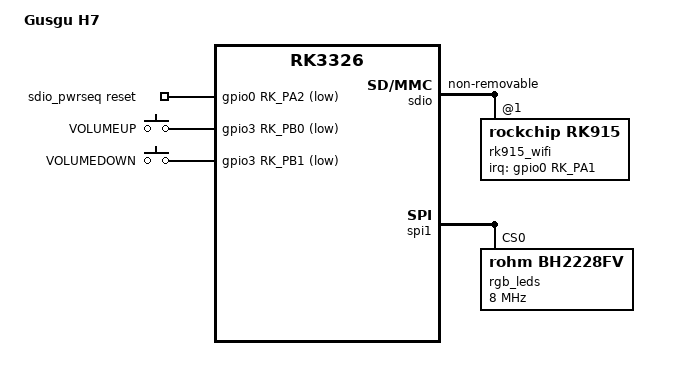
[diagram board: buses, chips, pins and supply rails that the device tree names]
// SPDX-License-Identifier: (GPL-2.0+ OR MIT)
/*
 * Gusgu H7 - unbranded Rockchip RK3326 handheld.
 *
 * Derived from the eeclone base, which is the only RK3326 tree here defining
 * every node this device needs to override, and whose serial2 = &uart5 alias
 * puts the H7's UART5 debug port on ttyS2 so the stock console= works.
 *
 * Everything below was taken from the device's own stock vendor DTB
 * (rk3326-evb-lp3-v12-linux.dtb): the panel via generic-dsi's stock-DTB
 * importer, the GPIO pin assignments verified against physical button presses.
 */

/dts-v1/;
#include "rk3326-gameconsole-eeclone.dts"
#include <dt-bindings/interrupt-controller/irq.h>

/ {
	model = "Gusgu H7";
	compatible = "gusgu,h7", "rockchip,rk3326";

	/* RK915 power-up sequence. gpio0 RK_PA2 is WIFI,poweren_gpio in the stock
	 * device tree; the chip stays dark without it being driven. */
	sdio_pwrseq: sdio-pwrseq {
		compatible = "mmc-pwrseq-simple";
		pinctrl-names = "default";
		pinctrl-0 = <&wifi_enable_h>;
		post-power-on-delay-ms = <100>;
		reset-gpios = <&gpio0 RK_PA2 GPIO_ACTIVE_LOW>;
	};

	/* Real GPIO volume buttons. Kept off the joypad so the OS treats them as
	 * system keys - and so the initramfs recovery check still finds
	 * KEY_VOLUMEDOWN on a real button rather than a floating ADC line. */
	volume-keys {
		compatible = "gpio-keys";
		autorepeat;

		vol-up {
			gpios = <&gpio3 RK_PB0 GPIO_ACTIVE_LOW>;
			label = "VOLUMEUP";
			linux,code = <KEY_VOLUMEUP>;
		};

		vol-down {
			gpios = <&gpio3 RK_PB1 GPIO_ACTIVE_LOW>;
			label = "VOLUMEDOWN";
			linux,code = <KEY_VOLUMEDOWN>;
		};
	};
};

/* 1024x768 Sitronix ST7703 (eeclone ships a 720x720 HX8394). */
&internal_display {
	panel_description =
		"G size=153,85 delays=20,20,20,120,20 format=rgb888 lanes=4 flags=0xe03",

		"M clock=62000 horizontal=1024,90,80,80 vertical=768,16,8,8 default=1",
		"M clock=62050 horizontal=1024,90,115,80 vertical=768,16,157,8",
		"M clock=62010 horizontal=1024,90,131,80 vertical=768,16,144,8",
		"M clock=63620 horizontal=1024,90,123,80 vertical=768,16,174,8",
		"M clock=62560 horizontal=1024,90,86,80 vertical=768,16,58,8",
		"M clock=68280 horizontal=1024,90,114,80 vertical=768,16,82,8",
		"M clock=63000 horizontal=1024,90,80,80 vertical=768,16,33,8",
		"M clock=62160 horizontal=1024,90,101,80 vertical=768,16,8,8",
		"M clock=75890 horizontal=1024,90,120,80 vertical=768,16,169,8",
		"M clock=90540 horizontal=1024,90,120,80 vertical=768,16,121,8",
		"M clock=91800 horizontal=1024,90,81,80 vertical=768,16,8,8",
		"M clock=122400 horizontal=1024,90,81,80 vertical=768,16,8,8",

		"I seq=ee01",
		"I seq=ea07",
		"I seq=eb12",
		"I seq=0a5e",
		"I seq=1314",
		"I seq=1735",
		"I seq=1d33",
		"I seq=2101",
		"I seq=2828",
		"I seq=2918",
		"I seq=2a63",
		"I seq=2ff3",
		"I seq=ee02",
		"I seq=39a9",
		"I seq=0000",
		"I seq=010d",
		"I seq=0212",
		"I seq=0308",
		"I seq=040e",
		"I seq=0530",
		"I seq=060b",
		"I seq=070e",
		"I seq=080f",
		"I seq=090e",
		"I seq=0a11",
		"I seq=0b4e",
		"I seq=0c14",
		"I seq=0d1a",
		"I seq=0e2f",
		"I seq=0f36",
		"I seq=103f",
		"I seq=2000",
		"I seq=210d",
		"I seq=2212",
		"I seq=2308",
		"I seq=240e",
		"I seq=2530",
		"I seq=260b",
		"I seq=270e",
		"I seq=280f",
		"I seq=290e",
		"I seq=2a11",
		"I seq=2b4e",
		"I seq=2c14",
		"I seq=2d1a",
		"I seq=2e2f",
		"I seq=2f36",
		"I seq=303f",
		"I seq=ee04",
		"I seq=0005",
		"I seq=0101",
		"I seq=0280",
		"I seq=0304",
		"I seq=0400",
		"I seq=0606",
		"I seq=0705",
		"I seq=081a",
		"I seq=0920",
		"I seq=0a0e",
		"I seq=0b00",
		"I seq=2040",
		"I seq=2408",
		"I seq=ee05",
		"I seq=0001",
		"I seq=0109",
		"I seq=0205",
		"I seq=0305",
		"I seq=0705",
		"I seq=080d",
		"I seq=0900",
		"I seq=0a12",
		"I seq=0b14",
		"I seq=0c66",
		"I seq=1003",
		"I seq=1107",
		"I seq=1205",
		"I seq=1305",
		"I seq=1912",
		"I seq=1af6",
		"I seq=4055",
		"I seq=4100",
		"I seq=4303",
		"I seq=4401",
		"I seq=4581",
		"I seq=4606",
		"I seq=4700",
		"I seq=ee06",
		"I seq=0045",
		"I seq=0201",
		"I seq=0488",
		"I seq=06cd",
		"I seq=08ef",
		"I seq=09cd",
		"I seq=0aab",
		"I seq=0b89",
		"I seq=0c67",
		"I seq=0d45",
		"I seq=0e23",
		"I seq=0f01",
		"I seq=ee07",
		"I seq=003c",
		"I seq=013c",
		"I seq=023c",
		"I seq=033c",
		"I seq=040d",
		"I seq=053c",
		"I seq=063c",
		"I seq=073c",
		"I seq=0808",
		"I seq=0910",
		"I seq=0a12",
		"I seq=0b14",
		"I seq=0c16",
		"I seq=0d18",
		"I seq=0e1a",
		"I seq=0f1c",
		"I seq=101e",
		"I seq=1104",
		"I seq=1200",
		"I seq=133c",
		"I seq=140c",
		"I seq=153c",
		"I seq=203c",
		"I seq=213c",
		"I seq=223c",
		"I seq=233c",
		"I seq=240d",
		"I seq=253c",
		"I seq=263c",
		"I seq=273c",
		"I seq=2808",
		"I seq=2911",
		"I seq=2a13",
		"I seq=2b15",
		"I seq=2c17",
		"I seq=2d19",
		"I seq=2e1b",
		"I seq=2f1d",
		"I seq=301f",
		"I seq=3105",
		"I seq=3201",
		"I seq=333c",
		"I seq=340c",
		"I seq=353c",
		"I seq=ee08",
		"I seq=1000",
		"I seq=12dc",
		"I seq=131c",
		"I seq=1723",
		"I seq=1820",
		"I seq=2080",
		"I seq=ee0f",
		"I seq=0001",
		"I seq=0100",
		"I seq=ee00",
		"I seq=ea00",
		"I seq=eb00",
		"I seq=3600",
		"I seq=11 wait=200",
		"I seq=29 wait=20";
};

/* eeclone samples SARADC ch2 for volume; on the H7 that line is the right
 * stick X axis. A centred stick reads as KEY_VOLUMEDOWN held, which sends
 * ROCKNIX init into USB-MSC recovery on every boot. */
&adc_keys {
	status = "disabled";
};

/* No analog mux on this hardware - both sticks wire straight to SARADC 0-3.
 * amux-count = 0 until a driver that reads four direct channels exists. */
/* The H7 has ONE stick on SARADC ch1 (X) and ch2 (Y), wired direct - no analog
 * mux. rocknix-singleadc-joypad can only read a single muxed channel
 * (devm_iio_channel_get "amux_adc"), so switch to rocknix-joypad, which takes
 * "joy_x"/"joy_y" directly. Both drivers emit the same button set, and the
 * driver reads linux,code per child, so the sw<N> nodes below carry over.
 *
 * Measured raw values: X left=92 centre=460 right=873, Y up=155 centre=536
 * down=921 - both rise in the ABS_X/ABS_Y positive direction, so NO inversion.
 * Note invert-absx/absy are device_property_present() checks: setting them to
 * <0> still inverts. They must be absent.
 */
&joypad {
	compatible = "rocknix-joypad";
	/* The driver maps ADC channels positionally, and defaults to
	 * right-stick-first {"rx","ry","x","y"}. With only two channels the
	 * single stick would land on ABS_RX/ABS_RY. abs-left-first selects
	 * {"x","y","rx","ry"} so it reports as the left stick. */
	abs-left-first;
	io-channel-names = "joy_x", "joy_y";
	io-channels = <&saradc 1>, <&saradc 2>;
	button-adc-count = <2>;
	button-adc-scale = <1>;
	button-adc-deadzone = <20>;
	button-adc-fuzz = <32>;
	button-adc-flat = <32>;
	/delete-property/ amux-count;
	/delete-property/ amux-channel-mapping;
	/delete-property/ amux-en-gpios;
	/delete-property/ amux-a-gpios;
	/delete-property/ amux-b-gpios;
	/delete-property/ invert-absx;
	/delete-property/ invert-absy;

	/delete-node/ sw1;
	/delete-node/ sw2;
	/delete-node/ sw3;
	/delete-node/ sw4;
	/delete-node/ sw5;
	/delete-node/ sw6;
	/delete-node/ sw7;
	/delete-node/ sw8;
	/delete-node/ sw11;
	/delete-node/ sw12;
	/delete-node/ sw13;
	/delete-node/ sw15;
	/delete-node/ sw16;
	/delete-node/ sw19;
	/delete-node/ sw20;
	/delete-node/ sw21;
	/delete-node/ sw22;

	sw1 {
		gpios = <&gpio3 RK_PB3 GPIO_ACTIVE_LOW>;
		label = "GPIO TOP-RIGHT";
		linux,code = <BTN_TR>;
	};

	sw2 {
		gpios = <&gpio3 RK_PA0 GPIO_ACTIVE_LOW>;
		label = "GPIO TOP-RIGHT2";
		linux,code = <BTN_TR2>;
	};

	sw3 {
		gpios = <&gpio3 RK_PB5 GPIO_ACTIVE_LOW>;
		label = "GPIO TOP-LEFT";
		linux,code = <BTN_TL>;
	};

	sw4 {
		gpios = <&gpio3 RK_PA6 GPIO_ACTIVE_LOW>;
		label = "GPIO TOP-LEFT2";
		linux,code = <BTN_TL2>;
	};

	sw5 {
		gpios = <&gpio3 RK_PC0 GPIO_ACTIVE_LOW>;
		label = "GPIO BTN-A";
		linux,code = <BTN_EAST>;
	};

	sw6 {
		gpios = <&gpio3 RK_PC1 GPIO_ACTIVE_LOW>;
		label = "GPIO BTN-B";
		linux,code = <BTN_SOUTH>;
	};

	sw7 {
		gpios = <&gpio3 RK_PC2 GPIO_ACTIVE_LOW>;
		label = "GPIO BTN-X";
		linux,code = <BTN_NORTH>;
	};

	sw8 {
		gpios = <&gpio3 RK_PC3 GPIO_ACTIVE_LOW>;
		label = "GPIO BTN-Y";
		linux,code = <BTN_WEST>;
	};

	sw9 {
		gpios = <&gpio3 RK_PC4 GPIO_ACTIVE_LOW>;
		label = "GPIO DPAD-LEFT";
		linux,code = <BTN_DPAD_LEFT>;
	};

	sw10 {
		gpios = <&gpio3 RK_PC5 GPIO_ACTIVE_LOW>;
		label = "GPIO DPAD-RIGHT";
		linux,code = <BTN_DPAD_RIGHT>;
	};

	sw11 {
		gpios = <&gpio3 RK_PC6 GPIO_ACTIVE_LOW>;
		label = "GPIO DPAD-UP";
		linux,code = <BTN_DPAD_UP>;
	};

	sw12 {
		gpios = <&gpio3 RK_PC7 GPIO_ACTIVE_LOW>;
		label = "GPIO DPAD-DOWN";
		linux,code = <BTN_DPAD_DOWN>;
	};

	sw13 {
		gpios = <&gpio3 RK_PD0 GPIO_ACTIVE_LOW>;
		label = "GPIO SELECT";
		linux,code = <BTN_SELECT>;
	};

	sw14 {
		gpios = <&gpio3 RK_PD1 GPIO_ACTIVE_LOW>;
		label = "GPIO START";
		linux,code = <BTN_START>;
	};

	sw15 {
		gpios = <&gpio3 RK_PD2 GPIO_ACTIVE_LOW>;
		label = "GPIO FN";
		linux,code = <BTN_MODE>;
	};

	sw17 {
		gpios = <&gpio2 RK_PB5 GPIO_ACTIVE_LOW>;
		label = "GPIO THUMBL";
		linux,code = <BTN_THUMBL>;
	};

	sw18 {
		gpios = <&gpio2 RK_PB6 GPIO_ACTIVE_LOW>;
		label = "GPIO THUMBR";
		linux,code = <BTN_THUMBR>;
	};
};

/* Pull-ups for the H7's own button lines. */
&btn_pins {
	rockchip,pins =
		<2 RK_PB5 RK_FUNC_GPIO &pcfg_pull_up>,
		<2 RK_PB6 RK_FUNC_GPIO &pcfg_pull_up>,
		<3 RK_PA0 RK_FUNC_GPIO &pcfg_pull_up>,
		<3 RK_PA6 RK_FUNC_GPIO &pcfg_pull_up>,
		<3 RK_PB0 RK_FUNC_GPIO &pcfg_pull_up>,
		<3 RK_PB1 RK_FUNC_GPIO &pcfg_pull_up>,
		<3 RK_PB3 RK_FUNC_GPIO &pcfg_pull_up>,
		<3 RK_PB5 RK_FUNC_GPIO &pcfg_pull_up>,
		<3 RK_PC0 RK_FUNC_GPIO &pcfg_pull_up>,
		<3 RK_PC1 RK_FUNC_GPIO &pcfg_pull_up>,
		<3 RK_PC2 RK_FUNC_GPIO &pcfg_pull_up>,
		<3 RK_PC3 RK_FUNC_GPIO &pcfg_pull_up>,
		<3 RK_PC4 RK_FUNC_GPIO &pcfg_pull_up>,
		<3 RK_PC5 RK_FUNC_GPIO &pcfg_pull_up>,
		<3 RK_PC6 RK_FUNC_GPIO &pcfg_pull_up>,
		<3 RK_PC7 RK_FUNC_GPIO &pcfg_pull_up>,
		<3 RK_PD0 RK_FUNC_GPIO &pcfg_pull_up>,
		<3 RK_PD1 RK_FUNC_GPIO &pcfg_pull_up>,
		<3 RK_PD2 RK_FUNC_GPIO &pcfg_pull_up>;
};

/* WiFi: Rockchip RK915 on SDIO.
 *
 * eeclone configures &sdio as an SD card slot - including
 * cd-gpios = <&gpio0 RK_PA2>, which on the H7 is the WiFi power-enable line.
 * That leaves the pin as a card-detect input, the chip unpowered and nothing
 * on the bus (mmc2 comes up, no card enumerates, no wlan0).
 *
 * Values below match the stock device tree: 50 MHz, cap-sd-highspeed,
 * keep-power-in-suspend and non-removable. The card node's
 * compatible = "rockchip,rk915" is what 035-rk915-mmc-quirks.patch matches on. host-wake is gpio0 RK_PA1 per the stock
 * WIFI,host_wake_irq (the upstream driver's example dtsi uses RK_PA5, which is
 * that author's board, not this one).
 */
/ {
	/*
	 * The ported rk915 driver falls back to eth_random_addr() when the DT
	 * carries no MAC, so the interface came up with a new address - and a
	 * new DHCP lease - on every module load. The BSP avoided that by
	 * calling rockchip_wifi_mac_addr(), which reads the factory MAC out of
	 * Rockchip vendor storage; there is no mainline equivalent.
	 *
	 * The vendor U-Boot already reads that same vendor storage and exports
	 * it as ethaddr (and the derived P2P address as eth1addr). Point
	 * ethernet0 at the wifi node and U-Boot's fdt_fixup_ethernet() writes
	 * ethaddr into it as mac-address, which of_get_mac_address() then
	 * finds. That keeps the address per-device instead of baking one
	 * handheld's MAC into a DTS everyone shares.
	 */
	aliases {
		ethernet0 = &rk915_wifi;
	};
};

&sdio {
	/delete-property/ cd-gpios;
	/delete-property/ card-detect-delay;
	/delete-property/ sd-uhs-sdr12;
	/delete-property/ sd-uhs-sdr25;
	/delete-property/ sd-uhs-sdr50;
	/delete-property/ sd-uhs-sdr104;
	/delete-property/ vmmc-supply;
	/delete-property/ vqmmc-supply;
	cap-sd-highspeed;
	cap-sdio-irq;
	keep-power-in-suspend;
	mmc-pwrseq = <&sdio_pwrseq>;
	max-frequency = <50000000>;
	no-sd;
	no-mmc;
	non-removable;
	status = "okay";

	rk915_wifi: wifi@1 {
		compatible = "rockchip,rk915";
		reg = <1>;
		interrupt-names = "host-wake";
		interrupt-parent = <&gpio0>;
		interrupts = <RK_PA1 IRQ_TYPE_LEVEL_HIGH>;
		pinctrl-names = "default";
		pinctrl-0 = <&wifi_host_wake_l>;
	};
};

&pinctrl {
	wifi {
		wifi_enable_h: wifi-enable-h {
			rockchip,pins = <0 RK_PA2 RK_FUNC_GPIO &pcfg_pull_none>;
		};
		wifi_host_wake_l: wifi-host-wake-l {
			rockchip,pins = <0 RK_PA1 RK_FUNC_GPIO &pcfg_pull_down>;
		};
	};
};

/*
 * Sound.
 *
 * eeclone defines two candidate cards and ships both disabled, expecting the
 * including board to pick one; the H7 picked neither, so no ALSA card was
 * instantiated at all ("no soundcards found", and not a single ASoC line in
 * dmesg).
 *
 * The H7 has an external speaker amplifier, so the amplified card is the right
 * one. The stock tree agrees on both pins:
 *
 *   stock  spk-ctl-gpios = <&gpio3 7 0>    use-ext-amplifier
 *   here   spk_amp enable-gpios = <&gpio3 RK_PA7 GPIO_ACTIVE_HIGH>
 *
 *   stock  hp-det-gpio   = <&gpio2 22 0>   (22 = RK_PC6)
 *   here   hp-det-gpios  = <&gpio2 RK_PC6 GPIO_ACTIVE_HIGH>
 *
 * i2s1_2ch is already enabled by eeclone and the rk817 codec already carries
 * #sound-dai-cells, so enabling the card is the only thing missing.
 */
&{/rk817-sound-amplified} {
	status = "okay";
};

/*
 * RGB LEDs (the illuminated button and the ring around the analog stick).
 *
 * These are WS2812-style addressable LEDs on a single data line, not anything
 * the LED class can drive: the stock firmware has no LED node in its device
 * tree at all and instead runs a userspace binary, /usr/bin/ws2812, which
 * talks to /dev/spidev1.0 and encodes the WS2812 bit timing into the SPI
 * bitstream. Only MOSI actually reaches the LEDs; CLK is there to clock the
 * pattern out at the right rate.
 *
 * Pins are taken from the stock tree and deliberately avoid CS0: mainline's
 * spi1_csn0 is gpio3 RK_PB1, which is a button on this board. The stock tree
 * muxes spi1_csn1 (RK_PB2) instead, which is free. Nothing else collides —
 * the buttons take PB0/PB1/PB3/PB5 and SPI1 takes PB2/PB4/PB6/PB7.
 *
 * "rohm,bh2228fv" is the conventional generic compatible for a raw spidev
 * node; the stock tree's "rockchip,spidev" is not a mainline binding.
 */
/*
 * Panel reset is gpio3 RK_PD3 on this board, not eeclone's RK_PB7.
 *
 * eeclone's value is wrong here and it also squats on spi1_clk, which is why
 * SPI1 would not probe:
 *
 *   rockchip-pinctrl: pin gpio3-15 already requested by ff450000.dsi.0;
 *                     cannot claim for ff1d8000.spi
 *
 * The stock tree is unambiguous - its st7703 panel node has
 * reset-gpios = <&gpio3 27 1>, i.e. RK_PD3 active-low, and muxes RK_PB7 as
 * spi1_clk (function 4). PD3 is otherwise unused on this board; the buttons
 * stop at PD2.
 *
 * The display came up anyway with the wrong pin because U-Boot has already
 * initialised the panel by the time Linux toggles it, so the bogus reset was
 * simply a no-op on an unrelated pin.
 */
&internal_display {
	reset-gpios = <&gpio3 RK_PD3 GPIO_ACTIVE_LOW>;
};

&lcd_rst {
	rockchip,pins = <3 RK_PD3 RK_FUNC_GPIO &pcfg_pull_none>;
};

&spi1 {
	pinctrl-names = "default";
	pinctrl-0 = <&spi1_clk>, <&spi1_csn1>, <&spi1_miso>, <&spi1_mosi>;
	status = "okay";

	rgb_leds: spidev@0 {
		compatible = "rohm,bh2228fv";
		reg = <0>;
		spi-max-frequency = <8000000>;
	};
};

/*
 * LEDs.
 *
 * This board has exactly two light sources, confirmed by toggling every
 * candidate line on the hardware:
 *
 *   - three WS2812s in the ring around the analog stick, on spi1 MOSI
 *     (see the spi1 node above, driven by h7-rgb)
 *   - one red charging LED on gpio0 RK_PC1
 *
 * eeclone also declares a blue power LED on gpio0 RK_PA0. That pin drives
 * nothing here: it sat at brightness 1 with a default-on trigger from boot
 * and no light ever came from it, and driving it high and low by hand changed
 * nothing either. Drop it rather than ship a phantom entry in
 * /sys/class/leds that no amount of writing to will do anything.
 *
 * There is no illuminated button on this board, despite the ring making it
 * look like there might be more.
 */
&leds {
	/delete-node/ led-1;

	/* Was "none", so the charging LED never lit. It is a charging
	 * indicator, so let it indicate charging. */
	led-0 {
		linux,default-trigger = "battery-charging";
	};
};
